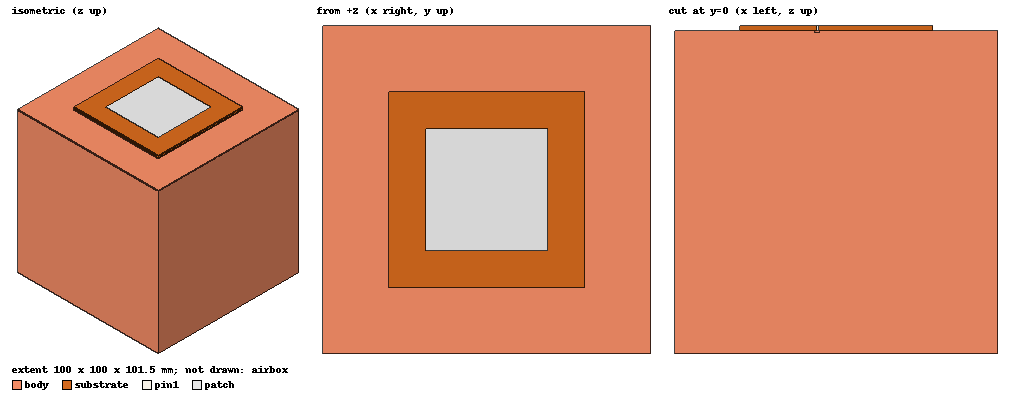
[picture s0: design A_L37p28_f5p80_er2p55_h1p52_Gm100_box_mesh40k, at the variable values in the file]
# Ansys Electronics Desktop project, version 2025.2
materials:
  vacuum: permittivity=1
  substrate_design: permittivity=2.55 permeability=1 dielectric_loss_tangent=0.0018
  copper: permeability=0.999991 conductivity=58000000
  pec: conductivity=1e+30

design A_L37p28_f5p80_er2p55_h1p52_Gm100_box_mesh40k (HFSS, HFSS Modal Network, model units mm)
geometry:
  substrate [substrate_design] = box(corner=(-30mm, -30mm, 0mm), size=(60mm, 60mm, 1.524mm))
  body [copper] = box(corner=(-50mm, -50mm, -100mm), size=(100mm, 100mm, 100mm))
  pocket1 = cylinder(axis=Z, base_centre=(5.8mm, 0mm, -0.5mm), radius=0.8mm, height=0.5mm)
  body.subtract(pocket1)
  pocket2 = cylinder(axis=Z, base_centre=(0mm, 5.8mm, -0.5mm), radius=0.8mm, height=0.5mm)
  body.subtract(pocket2)
  patch = polyline(z=1.524mm, xy in mm: (-18.64, 18.64) (18.64, 18.64) (18.64, -18.64) (-18.64, -18.64) (-18.64, 18.64), closed, covered)
  pin1 [pec] = cylinder(axis=Z, base_centre=(5.8mm, 0mm, 0mm), radius=0.25mm, height=1.524mm)
  pin1_1 = pin1.copy()
  substrate.subtract(pin1_1)
  port1 = circle(normal=Z, centre=(5.8mm, 0mm, 0mm), radius=0.8mm)
  inner1 = circle(normal=Z, centre=(5.8mm, 0mm, 0mm), radius=0.25mm)
  port1.subtract(inner1)
  pin2 [pec] = cylinder(axis=Z, base_centre=(0mm, 5.8mm, 0mm), radius=0.25mm, height=1.524mm)
  pin2_1 = pin2.copy()
  substrate.subtract(pin2_1)
  port2 = circle(normal=Z, centre=(0mm, 5.8mm, 0mm), radius=0.8mm)
  inner2 = circle(normal=Z, centre=(0mm, 5.8mm, 0mm), radius=0.25mm)
  port2.subtract(inner2)
  airbox [vacuum] = box(corner=(-80.906439mm, -80.906439mm, -130.90644mm), size=(161.81288mm, 161.81288mm, 163.33688mm))
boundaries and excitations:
  Cu_sheets: Finite Conductivity Objects=patch UseMaterial Material=copper Roughness=0mm IsInternal
  Rad__RNCGMA: Radiation Objects=airbox
  P1: Lumped Port Objects=port1 LumpedPortType=Modal Modes{Mode1{IntLine{(6.05, 0, 0) -> (6.6, 0, 0)} CharImp=Zpi RenormImp=50ohm}} Impedance=50ohm
  P2: Lumped Port Objects=port2 LumpedPortType=Modal Modes{Mode1{IntLine{(0.25, 5.8, 0) -> (0.8, 5.8, 0)} CharImp=Zpi RenormImp=50ohm}} Impedance=50ohm
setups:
  Setup1: HfssDriven Frequency=2.425GHz MaxDeltaS=1e-05 MaximumPasses=16 MinimumPasses=1 MinimumConvergedPasses=2 PercentRefinement=30 BasisOrder=1 PortAccuracy=2 DrivenSolverType="Direct Solver"
    sweep S: 2.2GHz to 2.65GHz, 901 points; Type=Interpolating InterpTolerance=0.5 InterpMaxSolns=250 InterpUsePortImped=false PassivityErrorTolerance=0.0001
    sweep FF: 2.395GHz to 2.455GHz step 0.0025GHz; Type=Discrete SaveFields
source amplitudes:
  P1:1: 1W 0deg
  P2:1: 1W -90deg
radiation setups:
  ff: Infinite Sphere Theta=-180deg..180deg step 2deg Phi=0deg..90deg step 90deg
